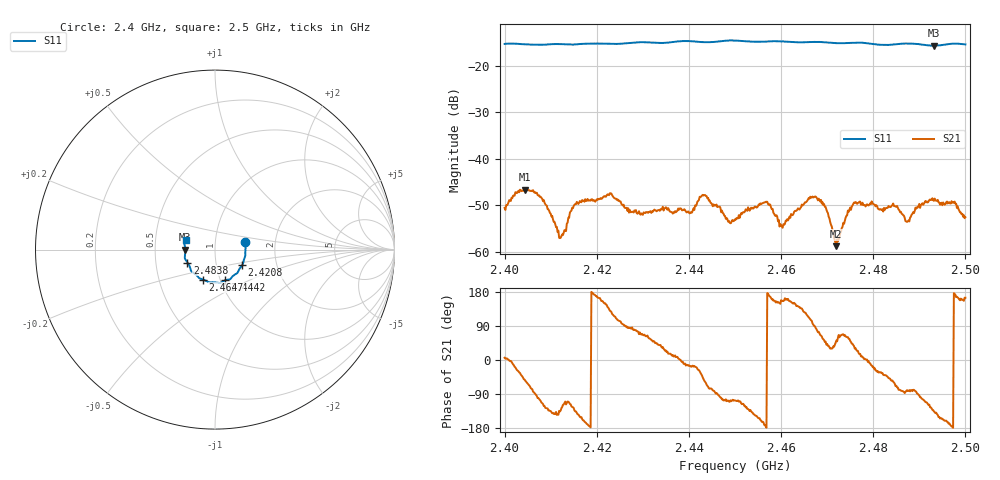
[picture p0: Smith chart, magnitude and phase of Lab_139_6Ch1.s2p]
# Hz S RI R 50
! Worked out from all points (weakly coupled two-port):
!   601 points, 2.4 GHz to 2.5 GHz, reference 50 ohm
!   highest |S21| = -46.61 dB at 2.4043 GHz (marker M1); lowest = -58.8 dB at 2.472 GHz (marker M2)
!   lowest |S11| = -15.6 dB at 2.4932 GHz (marker M3), VSWR 1.40, Z = 35.8 - j0.0774 ohm
!   |S11| at or under -10 dB: start of sweep to end of sweep
!   S12 and S22 are empty: the file has one direction only
!   S11 on the Smith chart (normalised r, x): 2.4 GHz: 1.40, +0.12; 2.4208 GHz: 1.33, -0.24; 2.4442 GHz: 1.05, -0.37; 2.4647 GHz: 0.83, -0.29; 2.4838 GHz: 0.73, -0.11; 2.5 GHz: 0.72, +0.08
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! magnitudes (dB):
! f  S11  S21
! 2.4 GHz  -15.2  -50.6
! 2.4043 GHz  -15.3  -46.6
! 2.408 GHz  -15.4  -48.4
! 2.4123 GHz  -15.3  -56.7
! 2.4167 GHz  -15.3  -49.3
! 2.4208 GHz  -15.2  -48.5
! 2.4333 GHz  -15.0  -51.0
! 2.4402 GHz  -14.6  -51.7
! 2.4442 GHz  -14.9  -48.4
! 2.45 GHz  -14.5  -53.0
! 2.4565 GHz  -14.8  -49.4
! 2.4602 GHz  -14.7  -54.6
! 2.4647 GHz  -14.9  -50.1
! 2.4667 GHz  -14.8  -48.3
! 2.4695 GHz  -14.9  -50.3
! 2.472 GHz  -15.1  -58.8
! 2.4758 GHz  -15.0  -49.4
! 2.4833 GHz  -15.5  -50.1
! 2.4838 GHz  -15.4  -50.4
! 2.4875 GHz  -15.2  -53.5
! 2.4932 GHz  -15.6  -49.0
! 2.5 GHz  -15.4  -52.6
